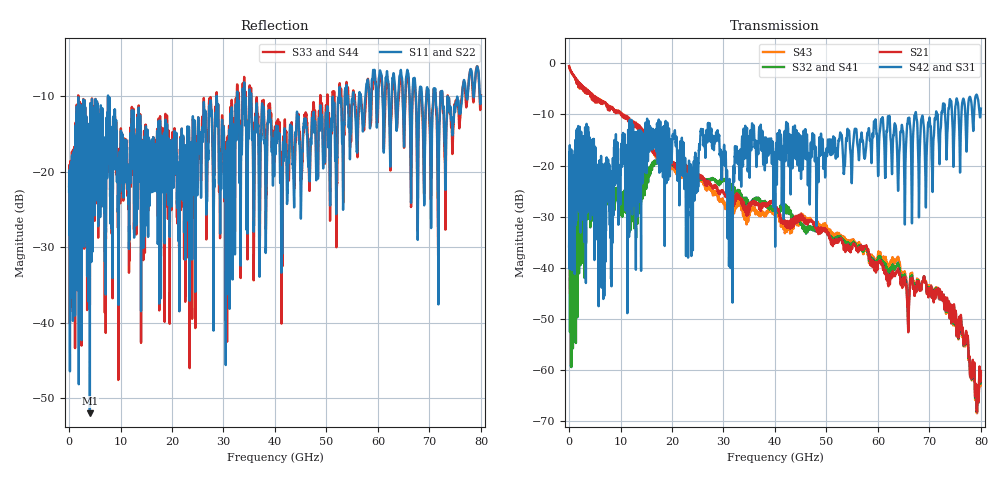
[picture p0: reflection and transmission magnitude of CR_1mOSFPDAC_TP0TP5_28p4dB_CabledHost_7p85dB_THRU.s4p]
!! Reference: shanbhag_3dj_01_2305.pdf
!! CHANNEL DESCRIPTION: TP0_TP5 CR Channel using 1meter DAC, Cabled Host
!! MODEL DESCRIPTION: s4p, THRU
!! CONNECTOR DESCRIPTION: OSFP 200G OTB
!! CABLE DESCRIPTION: 1meter 26AWG Cable
!! MODEL STATUS: Developmental
!! PORT DEFINITIONS:
!! Port  1  ----->  Side A  Side B  <-----  Port  2
!! Port  3  ----->  Side A  Side B  <-----  Port  4
# HZ S MA R 50.000000
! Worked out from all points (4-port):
!   8000 points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, 10 MHz to 80 GHz, reference 50 ohm
!   strongest paths, dB at 10 MHz, 20.01 GHz, 40.01 GHz, 60.01 GHz, 80 GHz:
!     S42: -24.5, -15.9, -26.4, -21.5, -8.9
!     S31: -24.5, -15.9, -26.4, -21.5, -8.9
!     S21: -0.6, -19.2, -27.8, -39.3, -60.2
!     S32: -35.8, -19.9, -28.2, -38.4, -60.6
!     S41: -35.8, -19.9, -28.2, -38.4, -60.6
!     S43: -0.6, -20.0, -29.1, -37.5, -61.1
!   lowest |S11| = -52.0 dB at 4.04 GHz (marker M1), VSWR 1.01, Z = 50.2 + j0.159 ohm
!   |S11| at or under -10 dB: start of sweep to 7.568 GHz; 7.571 GHz to 28.67 GHz (21.1 GHz wide, 116 % of centre); 35.39 GHz to 52.46 GHz (17.08 GHz wide, 38.9 % of centre)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
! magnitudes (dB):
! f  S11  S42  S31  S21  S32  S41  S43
! 10 MHz  -22.7  -24.5  -24.5  -0.6  -35.8  -35.8  -0.6
! 4.04 GHz  -52.0  -16.6  -16.6  -5.8  -30.0  -30.0  -5.8
! 30.38 GHz  -20.4  -17.4  -17.4  -26.1  -22.5  -22.5  -28.4
! 31.42 GHz  -17.0  -32.2  -32.2  -27.7  -23.7  -23.7  -29.6
! 35.58 GHz  -15.1  -12.1  -12.1  -27.3  -27.1  -27.1  -28.4
! 63.82 GHz  -12.1  -21.3  -21.3  -40.3  -39.1  -39.1  -38.0
! 80 GHz  -10.0  -8.9  -8.9  -60.2  -60.6  -60.6  -61.1
